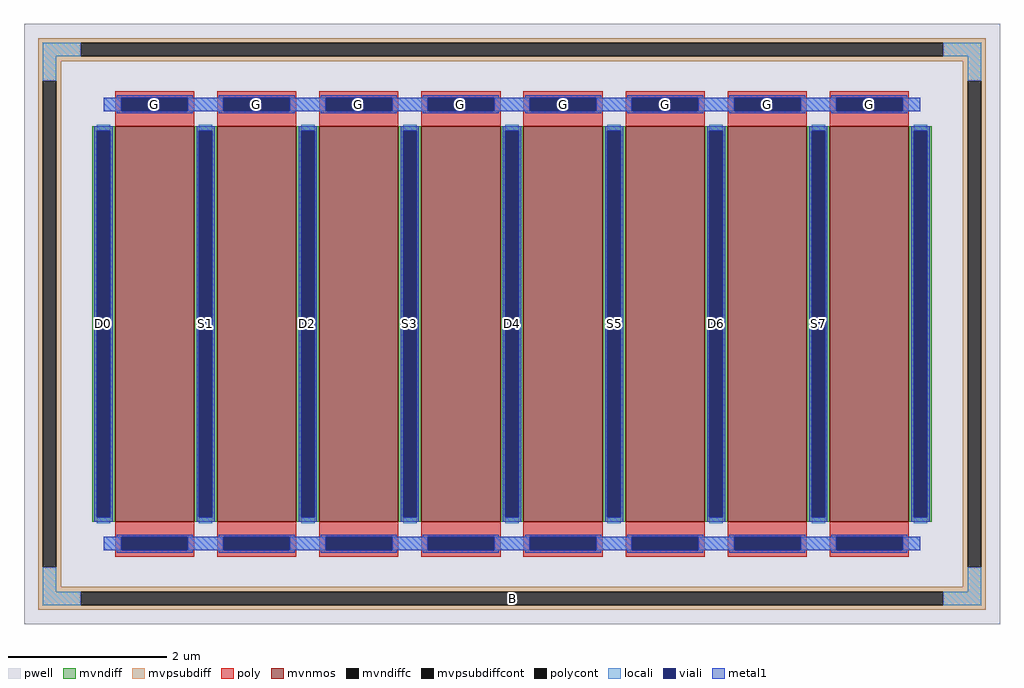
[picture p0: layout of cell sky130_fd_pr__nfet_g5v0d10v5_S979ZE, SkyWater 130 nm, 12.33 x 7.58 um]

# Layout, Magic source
magic
tech sky130A
magscale 1 2
<< pwell >>
rect -1233 -758 1233 758
<< mvnmos >>
rect -1003 -500 -803 500
rect -745 -500 -545 500
rect -487 -500 -287 500
rect -229 -500 -29 500
rect 29 -500 229 500
rect 287 -500 487 500
rect 545 -500 745 500
rect 803 -500 1003 500
<< mvndiff >>
rect -1061 488 -1003 500
rect -1061 -488 -1049 488
rect -1015 -488 -1003 488
rect -1061 -500 -1003 -488
rect -803 488 -745 500
rect -803 -488 -791 488
rect -757 -488 -745 488
rect -803 -500 -745 -488
rect -545 488 -487 500
rect -545 -488 -533 488
rect -499 -488 -487 488
rect -545 -500 -487 -488
rect -287 488 -229 500
rect -287 -488 -275 488
rect -241 -488 -229 488
rect -287 -500 -229 -488
rect -29 488 29 500
rect -29 -488 -17 488
rect 17 -488 29 488
rect -29 -500 29 -488
rect 229 488 287 500
rect 229 -488 241 488
rect 275 -488 287 488
rect 229 -500 287 -488
rect 487 488 545 500
rect 487 -488 499 488
rect 533 -488 545 488
rect 487 -500 545 -488
rect 745 488 803 500
rect 745 -488 757 488
rect 791 -488 803 488
rect 745 -500 803 -488
rect 1003 488 1061 500
rect 1003 -488 1015 488
rect 1049 -488 1061 488
rect 1003 -500 1061 -488
<< mvndiffc >>
rect -1049 -488 -1015 488
rect -791 -488 -757 488
rect -533 -488 -499 488
rect -275 -488 -241 488
rect -17 -488 17 488
rect 241 -488 275 488
rect 499 -488 533 488
rect 757 -488 791 488
rect 1015 -488 1049 488
<< mvpsubdiff >>
rect -1197 710 1197 722
rect -1197 676 -1089 710
rect 1089 676 1197 710
rect -1197 664 1197 676
rect -1197 614 -1139 664
rect -1197 -614 -1185 614
rect -1151 -614 -1139 614
rect 1139 614 1197 664
rect -1197 -664 -1139 -614
rect 1139 -614 1151 614
rect 1185 -614 1197 614
rect 1139 -664 1197 -614
rect -1197 -676 1197 -664
rect -1197 -710 -1089 -676
rect 1089 -710 1197 -676
rect -1197 -722 1197 -710
<< mvpsubdiffcont >>
rect -1089 676 1089 710
rect -1185 -614 -1151 614
rect 1151 -614 1185 614
rect -1089 -710 1089 -676
<< poly >>
rect -1003 572 -803 588
rect -1003 538 -987 572
rect -819 538 -803 572
rect -1003 500 -803 538
rect -745 572 -545 588
rect -745 538 -729 572
rect -561 538 -545 572
rect -745 500 -545 538
rect -487 572 -287 588
rect -487 538 -471 572
rect -303 538 -287 572
rect -487 500 -287 538
rect -229 572 -29 588
rect -229 538 -213 572
rect -45 538 -29 572
rect -229 500 -29 538
rect 29 572 229 588
rect 29 538 45 572
rect 213 538 229 572
rect 29 500 229 538
rect 287 572 487 588
rect 287 538 303 572
rect 471 538 487 572
rect 287 500 487 538
rect 545 572 745 588
rect 545 538 561 572
rect 729 538 745 572
rect 545 500 745 538
rect 803 572 1003 588
rect 803 538 819 572
rect 987 538 1003 572
rect 803 500 1003 538
rect -1003 -538 -803 -500
rect -1003 -572 -987 -538
rect -819 -572 -803 -538
rect -1003 -588 -803 -572
rect -745 -538 -545 -500
rect -745 -572 -729 -538
rect -561 -572 -545 -538
rect -745 -588 -545 -572
rect -487 -538 -287 -500
rect -487 -572 -471 -538
rect -303 -572 -287 -538
rect -487 -588 -287 -572
rect -229 -538 -29 -500
rect -229 -572 -213 -538
rect -45 -572 -29 -538
rect -229 -588 -29 -572
rect 29 -538 229 -500
rect 29 -572 45 -538
rect 213 -572 229 -538
rect 29 -588 229 -572
rect 287 -538 487 -500
rect 287 -572 303 -538
rect 471 -572 487 -538
rect 287 -588 487 -572
rect 545 -538 745 -500
rect 545 -572 561 -538
rect 729 -572 745 -538
rect 545 -588 745 -572
rect 803 -538 1003 -500
rect 803 -572 819 -538
rect 987 -572 1003 -538
rect 803 -588 1003 -572
<< polycont >>
rect -987 538 -819 572
rect -729 538 -561 572
rect -471 538 -303 572
rect -213 538 -45 572
rect 45 538 213 572
rect 303 538 471 572
rect 561 538 729 572
rect 819 538 987 572
rect -987 -572 -819 -538
rect -729 -572 -561 -538
rect -471 -572 -303 -538
rect -213 -572 -45 -538
rect 45 -572 213 -538
rect 303 -572 471 -538
rect 561 -572 729 -538
rect 819 -572 987 -538
<< locali >>
rect -1185 676 -1089 710
rect 1089 676 1185 710
rect -1185 614 -1151 676
rect 1151 614 1185 676
rect -1032 538 -987 572
rect -819 538 -729 572
rect -561 538 -471 572
rect -303 538 -213 572
rect -45 538 45 572
rect 213 538 303 572
rect 471 538 561 572
rect 729 538 819 572
rect 987 538 1032 572
rect -1049 488 -1015 504
rect -1049 -504 -1015 -488
rect -791 488 -757 504
rect -791 -504 -757 -488
rect -533 488 -499 504
rect -533 -504 -499 -488
rect -275 488 -241 504
rect -275 -504 -241 -488
rect -17 488 17 504
rect -17 -504 17 -488
rect 241 488 275 504
rect 241 -504 275 -488
rect 499 488 533 504
rect 499 -504 533 -488
rect 757 488 791 504
rect 757 -504 791 -488
rect 1015 488 1049 504
rect 1015 -504 1049 -488
rect -1032 -572 -987 -538
rect -819 -572 -729 -538
rect -561 -572 -471 -538
rect -303 -572 -213 -538
rect -45 -572 45 -538
rect 213 -572 303 -538
rect 471 -572 561 -538
rect 729 -572 819 -538
rect 987 -572 1032 -538
rect -1185 -676 -1151 -614
rect 1151 -676 1185 -614
rect -1185 -710 -1089 -676
rect 1089 -710 1185 -676
<< viali >>
rect -987 538 -819 572
rect -729 538 -561 572
rect -471 538 -303 572
rect -213 538 -45 572
rect 45 538 213 572
rect 303 538 471 572
rect 561 538 729 572
rect 819 538 987 572
rect -1049 -488 -1015 488
rect -791 -488 -757 488
rect -533 -488 -499 488
rect -275 -488 -241 488
rect -17 -488 17 488
rect 241 -488 275 488
rect 499 -488 533 488
rect 757 -488 791 488
rect 1015 -488 1049 488
rect -987 -572 -819 -538
rect -729 -572 -561 -538
rect -471 -572 -303 -538
rect -213 -572 -45 -538
rect 45 -572 213 -538
rect 303 -572 471 -538
rect 561 -572 729 -538
rect 819 -572 987 -538
<< metal1 >>
rect -999 572 -807 578
rect -741 572 -549 578
rect -483 572 -291 578
rect -225 572 -33 578
rect 33 572 225 578
rect 291 572 483 578
rect 549 572 741 578
rect 807 572 999 578
rect -1032 538 -987 572
rect -819 538 -729 572
rect -561 538 -471 572
rect -303 538 -213 572
rect -45 538 45 572
rect 213 538 303 572
rect 471 538 561 572
rect 729 538 819 572
rect 987 538 1032 572
rect -999 532 -807 538
rect -741 532 -549 538
rect -483 532 -291 538
rect -225 532 -33 538
rect 33 532 225 538
rect 291 532 483 538
rect 549 532 741 538
rect 807 532 999 538
rect -1055 488 -1009 500
rect -1055 -488 -1049 488
rect -1015 -488 -1009 488
rect -1055 -500 -1009 -488
rect -797 488 -751 500
rect -797 -488 -791 488
rect -757 -488 -751 488
rect -797 -500 -751 -488
rect -539 488 -493 500
rect -539 -488 -533 488
rect -499 -488 -493 488
rect -539 -500 -493 -488
rect -281 488 -235 500
rect -281 -488 -275 488
rect -241 -488 -235 488
rect -281 -500 -235 -488
rect -23 488 23 500
rect -23 -488 -17 488
rect 17 -488 23 488
rect -23 -500 23 -488
rect 235 488 281 500
rect 235 -488 241 488
rect 275 -488 281 488
rect 235 -500 281 -488
rect 493 488 539 500
rect 493 -488 499 488
rect 533 -488 539 488
rect 493 -500 539 -488
rect 751 488 797 500
rect 751 -488 757 488
rect 791 -488 797 488
rect 751 -500 797 -488
rect 1009 488 1055 500
rect 1009 -488 1015 488
rect 1049 -488 1055 488
rect 1009 -500 1055 -488
rect -999 -538 -807 -532
rect -741 -538 -549 -532
rect -483 -538 -291 -532
rect -225 -538 -33 -532
rect 33 -538 225 -532
rect 291 -538 483 -532
rect 549 -538 741 -532
rect 807 -538 999 -532
rect -1032 -572 -987 -538
rect -819 -572 -729 -538
rect -561 -572 -471 -538
rect -303 -572 -213 -538
rect -45 -572 45 -538
rect 213 -572 303 -538
rect 471 -572 561 -538
rect 729 -572 819 -538
rect 987 -572 1032 -538
rect -999 -578 -807 -572
rect -741 -578 -549 -572
rect -483 -578 -291 -572
rect -225 -578 -33 -572
rect 33 -578 225 -572
rect 291 -578 483 -572
rect 549 -578 741 -572
rect 807 -578 999 -572
<< labels >>
rlabel mvpsubdiffcont 0 -693 0 -693 0 B
port 1 nsew
rlabel mvndiffc -1032 0 -1032 0 0 D0
port 2 nsew
rlabel polycont -903 555 -903 555 0 G
port 3 nsew
rlabel mvndiffc -774 0 -774 0 0 S1
port 4 nsew
rlabel polycont -645 555 -645 555 0 G
port 3 nsew
rlabel mvndiffc -516 0 -516 0 0 D2
port 5 nsew
rlabel polycont -387 555 -387 555 0 G
port 3 nsew
rlabel mvndiffc -258 0 -258 0 0 S3
port 6 nsew
rlabel polycont -129 555 -129 555 0 G
port 3 nsew
rlabel mvndiffc 0 0 0 0 0 D4
port 7 nsew
rlabel polycont 129 555 129 555 0 G
port 3 nsew
rlabel mvndiffc 258 0 258 0 0 S5
port 8 nsew
rlabel polycont 387 555 387 555 0 G
port 3 nsew
rlabel mvndiffc 516 0 516 0 0 D6
port 9 nsew
rlabel polycont 645 555 645 555 0 G
port 3 nsew
rlabel mvndiffc 774 0 774 0 0 S7
port 10 nsew
rlabel polycont 903 555 903 555 0 G
port 3 nsew
<< properties >>
string FIXED_BBOX -1168 -693 1168 693
string gencell sky130_fd_pr__nfet_g5v0d10v5
string library sky130
string parameters w 5 l 1 m 1 nf 8 diffcov 100 polycov 100 guard 1 glc 1 grc 1 gtc 1 gbc 1 tbcov 100 rlcov 100 topc 1 botc 1 poverlap 0 doverlap 1 lmin 0.50 wmin 0.42 class mosfet compatible {sky130_fd_pr__nfet_01v8 sky130_fd_pr__nfet_01v8_lvt  sky130_fd_bs_flash__special_sonosfet_star  sky130_fd_pr__nfet_g5v0d10v5 sky130_fd_pr__nfet_05v0_nvt  sky130_fd_pr__nfet_03v3_nvt} full_metal 1 conn_gates 1 viasrc 100 viadrn 100 viagate 100 viagb 0 viagr 0 viagl 0 viagt 0 doports 1
<< end >>
